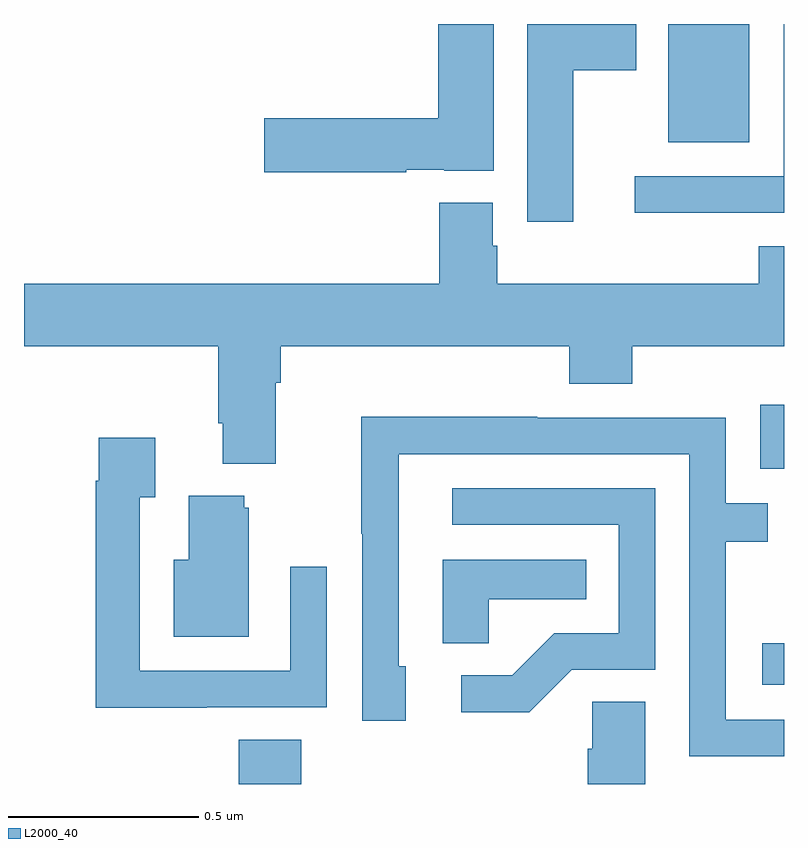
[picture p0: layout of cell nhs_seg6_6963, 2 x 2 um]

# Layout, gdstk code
import gdstk
lib = gdstk.Library(unit=1e-6, precision=1e-09)
def R(c, l, rs):  # rectangles x0, y0, x1, y1
    for r in rs: c.add(gdstk.rectangle(r[:2], r[2:], *l))
def P(c, l, *ps):  # polygons
    for p in ps: c.add(gdstk.Polygon(p, *l))
L2000_40 = (2000, 40)

nhs_seg6_6963 = lib.new_cell('nhs_seg6_6963')
R(nhs_seg6_6963, L2000_40, [(202.565,963.5,202.73,963.617), (203.943,963.761,204,963.871), (203.937,964.329,204,964.498), (203.696,965.189,203.908,965.5)])
P(nhs_seg6_6963, L2000_40, [(204,965.5),(203.999,965.5),(203.999,965.1),(203.607,965.1),(203.607,965.003),(204,965.003)],
  [(203.446,965.378),(203.611,965.378),(203.611,965.5),(203.324,965.5),(203.324,964.98),(203.446,964.98)],
  [(203.006,965.117),(203.106,965.117),(203.106,965.114),(203.236,965.114),(203.236,965.5),(203.09,965.5),(203.09,965.252),(202.632,965.252),(202.632,965.11),(203.006,965.11)],
  [(202.663,964.556),(202.676,964.556),(202.676,964.652),(203.435,964.652),(203.435,964.553),(203.6,964.553),(203.6,964.652),(204,964.652),(204,964.915),(203.933,964.915),(203.933,964.816),(203.246,964.816),(203.246,964.917),(203.233,964.917),(203.233,965.029),(203.093,965.029),(203.093,964.816),(202,964.816),(202,964.652),(202.511,964.652),(202.511,964.45),(202.523,964.45),(202.523,964.343),(202.663,964.343)],
  [(204,963.669),(203.847,963.669),(203.847,964.138),(203.957,964.138),(203.957,964.239),(203.847,964.239),(203.847,964.464),(203.351,964.464),(203.351,964.466),(202.888,964.466),(202.888,964.159),(202.89,964.159),(202.89,963.666),(203.005,963.666),(203.005,963.81),(202.986,963.81),(202.986,964.368),(203.751,964.368),(203.751,963.573),(204,963.573)],
  [(202.481,963.702),(202.797,963.702),(202.797,964.072),(202.701,964.072),(202.701,963.798),(202.305,963.798),(202.305,964.255),(202.345,964.255),(202.345,964.411),(202.197,964.411),(202.197,964.298),(202.189,964.298),(202.189,963.701),(202.481,963.701)],
  [(203.442,963.801),(203.661,963.801),(203.661,964.278),(203.127,964.278),(203.127,964.182),(203.565,964.182),(203.565,963.897),(203.396,963.897),(203.285,963.786),(203.151,963.786),(203.151,963.689),(203.329,963.689)],
  [(202.591,964.227),(202.58,964.227),(202.58,964.258),(202.433,964.258),(202.433,964.09),(202.394,964.09),(202.394,963.887),(202.591,963.887)],
  [(203.223,963.986),(203.48,963.986),(203.48,964.09),(203.102,964.09),(203.102,963.871),(203.223,963.871)],
  [(203.635,963.716),(203.496,963.716),(203.496,963.593),(203.483,963.593),(203.483,963.5),(203.635,963.5)])

lib.write_gds('nhs_seg6_6963.gds')
